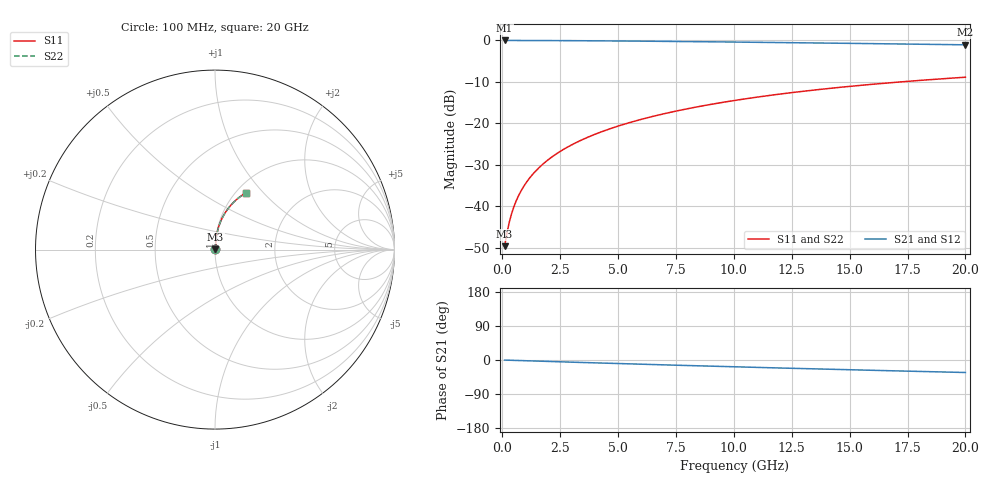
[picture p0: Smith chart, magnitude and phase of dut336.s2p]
! Touchstone file exported from HFSS 2024.1.0
!  File:  C:/UserFiles/LocalFiles/RDL_TSV_Batchsim/temp_RDL_bottom_336_1779611705.aedt
!  Generated:  04:38:03 PM May 24, 2026
!  Design:  RDL_bottom
!  Project:  temp_RDL_bottom_336_1779611705
!  Setup:  Setup1
!  Solution:  Sweep
! Variables:
!  dtsv = 10.80580581um
!  hbump = 3um
!  htsv = 86.73um
!  ldown = 410.58um
!  lrdl = 100um
!  p = 40
!  p1 = 53.99um
!  rhole = 1um
!  t = 450um
!  tdown = 3.19um
!  trdl = 3.915915916um
!  wdown = 18.52um
!  wrdl = 20um
# GHz S MA R 50.000000
! Terminal data exported
! Port[1] = RDL1_T1
! Port[2] = RDL1_T2
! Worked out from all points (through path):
!   200 points, 100 MHz to 20 GHz, reference 50 ohm
!   highest |S21| = -0.02 dB at 100 MHz (marker M1); lowest = -1.1 dB at 20 GHz (marker M2)
!   group delay of S21, straight-line fit = 4.56 ps
!   lowest |S11| = -49.7 dB at 100 MHz (marker M3), VSWR 1.01, Z = 50.3 + j0.194 ohm
!   |S11| at or under -10 dB: start of sweep to 17.26 GHz
!   |S22| runs from -49.7 to -8.9 dB; largest |S21 - S12| = 2.6e-15
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0.1  0.003284 36.0  0.9973 -0.2  0.9973 -0.2  0.003284 36.0
! Gamma 0 0 0 0
! Port Impedance 50 0 50 0
0.2  0.004708 54.5  0.9973 -0.4  0.9973 -0.4  0.004708 54.5
0.3  0.00636 63.5  0.9971 -0.6  0.9971 -0.6  0.00636 63.5
0.4  0.008075 68.7  0.997 -0.8  0.997 -0.8  0.008075 68.7
0.5  0.009809 72.0  0.9969 -1.0  0.9969 -1.0  0.009809 72.0
0.6  0.01155 74.4  0.9968 -1.2  0.9968 -1.2  0.01155 74.4
0.8  0.01507 77.5  0.9965 -1.5  0.9965 -1.5  0.01507 77.5
1.1  0.02038 80.1  0.9961 -2.1  0.9961 -2.1  0.02038 80.1
1.5  0.02755 82.0  0.9954 -2.9  0.9954 -2.9  0.02755 82.0
1.8  0.03296 82.8  0.9949 -3.4  0.9949 -3.4  0.03296 82.8
2.1  0.03841 83.3  0.9942 -4.0  0.9942 -4.0  0.03841 83.3
2.7  0.04938 83.7  0.9925 -5.1  0.9925 -5.1  0.04938 83.7
3.5  0.06417 83.7  0.9898 -6.6  0.9898 -6.6  0.06417 83.7
4.2  0.07725 83.4  0.987 -7.9  0.987 -7.9  0.07724 83.4
5  0.09233 82.8  0.9834 -9.4  0.9834 -9.4  0.09232 82.8
5.9  0.1094 82.0  0.9789 -11.0  0.9789 -11.0  0.1094 81.9
6.8  0.1267 80.9  0.974 -12.5  0.974 -12.5  0.1266 80.9
8.4  0.1573 78.9  0.9645 -15.3  0.9645 -15.3  0.1573 78.8
10.1  0.1896 76.4  0.9538 -18.1  0.9538 -18.1  0.1895 76.4
13.4  0.2503 71.4  0.9315 -23.3  0.9315 -23.3  0.2502 71.4
16.7  0.3071 66.4  0.9081 -28.3  0.9081 -28.3  0.307 66.4
20  0.3591 61.6  0.8838 -33.0  0.8838 -33.0  0.3589 61.5
